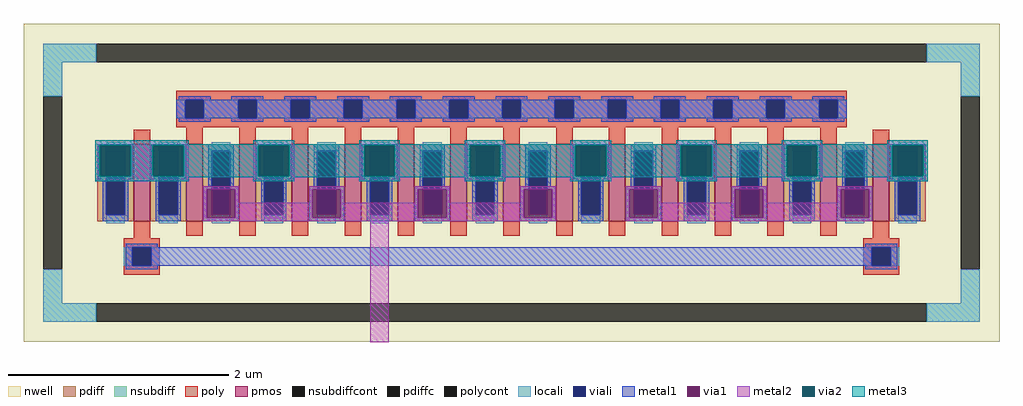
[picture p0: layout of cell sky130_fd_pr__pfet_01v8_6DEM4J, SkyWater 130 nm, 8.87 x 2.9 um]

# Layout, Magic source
magic
tech sky130A
magscale 1 2
<< nwell >>
rect -887 -289 887 289
<< pmos >>
rect -687 -70 -657 70
rect -591 -70 -561 70
rect -495 -70 -465 70
rect -399 -70 -369 70
rect -303 -70 -273 70
rect -207 -70 -177 70
rect -111 -70 -81 70
rect -15 -70 15 70
rect 81 -70 111 70
rect 177 -70 207 70
rect 273 -70 303 70
rect 369 -70 399 70
rect 465 -70 495 70
rect 561 -70 591 70
rect 657 -70 687 70
<< pdiff >>
rect -753 58 -687 70
rect -753 -58 -737 58
rect -703 -58 -687 58
rect -753 -70 -687 -58
rect -657 58 -591 70
rect -657 -58 -641 58
rect -607 -58 -591 58
rect -657 -70 -591 -58
rect -561 58 -495 70
rect -561 -58 -545 58
rect -511 -58 -495 58
rect -561 -70 -495 -58
rect -465 58 -399 70
rect -465 -58 -449 58
rect -415 -58 -399 58
rect -465 -70 -399 -58
rect -369 58 -303 70
rect -369 -58 -353 58
rect -319 -58 -303 58
rect -369 -70 -303 -58
rect -273 58 -207 70
rect -273 -58 -257 58
rect -223 -58 -207 58
rect -273 -70 -207 -58
rect -177 58 -111 70
rect -177 -58 -161 58
rect -127 -58 -111 58
rect -177 -70 -111 -58
rect -81 58 -15 70
rect -81 -58 -65 58
rect -31 -58 -15 58
rect -81 -70 -15 -58
rect 15 58 81 70
rect 15 -58 31 58
rect 65 -58 81 58
rect 15 -70 81 -58
rect 111 58 177 70
rect 111 -58 127 58
rect 161 -58 177 58
rect 111 -70 177 -58
rect 207 58 273 70
rect 207 -58 223 58
rect 257 -58 273 58
rect 207 -70 273 -58
rect 303 58 369 70
rect 303 -58 319 58
rect 353 -58 369 58
rect 303 -70 369 -58
rect 399 58 465 70
rect 399 -58 415 58
rect 449 -58 465 58
rect 399 -70 465 -58
rect 495 58 561 70
rect 495 -58 511 58
rect 545 -58 561 58
rect 495 -70 561 -58
rect 591 58 657 70
rect 591 -58 607 58
rect 641 -58 657 58
rect 591 -70 657 -58
rect 687 58 753 70
rect 687 -58 703 58
rect 737 -58 753 58
rect 687 -70 753 -58
<< pdiffc >>
rect -737 -58 -703 58
rect -641 -58 -607 58
rect -545 -58 -511 58
rect -449 -58 -415 58
rect -353 -58 -319 58
rect -257 -58 -223 58
rect -161 -58 -127 58
rect -65 -58 -31 58
rect 31 -58 65 58
rect 127 -58 161 58
rect 223 -58 257 58
rect 319 -58 353 58
rect 415 -58 449 58
rect 511 -58 545 58
rect 607 -58 641 58
rect 703 -58 737 58
<< nsubdiff >>
rect -851 219 -755 253
rect 755 219 851 253
rect -851 157 -817 219
rect 817 157 851 219
rect -851 -219 -817 -157
rect 817 -219 851 -157
rect -851 -253 -755 -219
rect 755 -253 851 -219
<< nsubdiffcont >>
rect -755 219 755 253
rect -851 -157 -817 157
rect 817 -157 851 157
rect -755 -253 755 -219
<< poly >>
rect -609 151 609 167
rect -609 117 -593 151
rect -559 117 -497 151
rect -463 117 -401 151
rect -367 117 -305 151
rect -271 117 -209 151
rect -175 117 -113 151
rect -79 117 -17 151
rect 17 117 79 151
rect 113 117 175 151
rect 209 117 271 151
rect 305 117 367 151
rect 401 117 463 151
rect 497 117 559 151
rect 593 117 609 151
rect -609 101 609 117
rect -687 70 -657 96
rect -591 70 -561 101
rect -495 70 -465 101
rect -399 70 -369 101
rect -303 70 -273 101
rect -207 70 -177 101
rect -111 70 -81 101
rect -15 70 15 101
rect 81 70 111 101
rect 177 70 207 101
rect 273 70 303 101
rect 369 70 399 101
rect 465 70 495 101
rect 561 70 591 101
rect 657 70 687 96
rect -687 -101 -657 -70
rect -591 -96 -561 -70
rect -495 -96 -465 -70
rect -399 -96 -369 -70
rect -303 -96 -273 -70
rect -207 -96 -177 -70
rect -111 -96 -81 -70
rect -15 -96 15 -70
rect 81 -96 111 -70
rect 177 -96 207 -70
rect 273 -96 303 -70
rect 369 -96 399 -70
rect 465 -96 495 -70
rect 561 -96 591 -70
rect 657 -101 687 -70
rect -705 -117 -639 -101
rect -705 -151 -689 -117
rect -655 -151 -639 -117
rect -705 -167 -639 -151
rect 639 -117 705 -101
rect 639 -151 655 -117
rect 689 -151 705 -117
rect 639 -167 705 -151
<< polycont >>
rect -593 117 -559 151
rect -497 117 -463 151
rect -401 117 -367 151
rect -305 117 -271 151
rect -209 117 -175 151
rect -113 117 -79 151
rect -17 117 17 151
rect 79 117 113 151
rect 175 117 209 151
rect 271 117 305 151
rect 367 117 401 151
rect 463 117 497 151
rect 559 117 593 151
rect -689 -151 -655 -117
rect 655 -151 689 -117
<< locali >>
rect -851 219 -755 253
rect 755 219 851 253
rect -851 157 -817 219
rect 817 157 851 219
rect -609 117 -593 151
rect -559 117 -497 151
rect -463 117 -401 151
rect -367 117 -305 151
rect -271 117 -209 151
rect -175 117 -113 151
rect -79 117 -17 151
rect 17 117 79 151
rect 113 117 175 151
rect 209 117 271 151
rect 305 117 367 151
rect 401 117 463 151
rect 497 117 559 151
rect 593 117 609 151
rect -737 58 -703 74
rect -737 -74 -703 -58
rect -641 58 -607 74
rect -641 -74 -607 -58
rect -545 58 -511 74
rect -545 -74 -511 -58
rect -449 58 -415 74
rect -449 -74 -415 -58
rect -353 58 -319 74
rect -353 -74 -319 -58
rect -257 58 -223 74
rect -257 -74 -223 -58
rect -161 58 -127 74
rect -161 -74 -127 -58
rect -65 58 -31 74
rect -65 -74 -31 -58
rect 31 58 65 74
rect 31 -74 65 -58
rect 127 58 161 74
rect 127 -74 161 -58
rect 223 58 257 74
rect 223 -74 257 -58
rect 319 58 353 74
rect 319 -74 353 -58
rect 415 58 449 74
rect 415 -74 449 -58
rect 511 58 545 74
rect 511 -74 545 -58
rect 607 58 641 74
rect 607 -74 641 -58
rect 703 58 737 74
rect 703 -74 737 -58
rect -705 -151 -689 -117
rect -655 -151 -639 -117
rect 639 -151 655 -117
rect 689 -151 705 -117
rect -851 -219 -817 -157
rect 817 -219 851 -157
rect -851 -253 -755 -219
rect 755 -253 851 -219
<< viali >>
rect -593 117 -559 151
rect -497 117 -463 151
rect -401 117 -367 151
rect -305 117 -271 151
rect -209 117 -175 151
rect -113 117 -79 151
rect -17 117 17 151
rect 79 117 113 151
rect 175 117 209 151
rect 271 117 305 151
rect 367 117 401 151
rect 463 117 497 151
rect 559 117 593 151
rect -737 -58 -703 58
rect -641 -58 -607 58
rect -545 -58 -511 58
rect -449 -58 -415 58
rect -353 -58 -319 58
rect -257 -58 -223 58
rect -161 -58 -127 58
rect -65 -58 -31 58
rect 31 -58 65 58
rect 127 -58 161 58
rect 223 -58 257 58
rect 319 -58 353 58
rect 415 -58 449 58
rect 511 -58 545 58
rect 607 -58 641 58
rect 703 -58 737 58
rect -689 -151 -655 -117
rect 655 -151 689 -117
<< metal1 >>
rect -605 151 -547 157
rect -509 151 -451 157
rect -413 151 -355 157
rect -317 151 -259 157
rect -221 151 -163 157
rect -125 151 -67 157
rect -29 151 29 157
rect 67 151 125 157
rect 163 151 221 157
rect 259 151 317 157
rect 355 151 413 157
rect 451 151 509 157
rect 547 151 605 157
rect -609 117 -593 151
rect -559 117 -497 151
rect -463 117 -401 151
rect -367 117 -305 151
rect -271 117 -209 151
rect -175 117 -113 151
rect -79 117 -17 151
rect 17 117 79 151
rect 113 117 175 151
rect 209 117 271 151
rect 305 117 367 151
rect 401 117 463 151
rect 497 117 559 151
rect 593 117 609 151
rect -605 111 -547 117
rect -509 111 -451 117
rect -413 111 -355 117
rect -317 111 -259 117
rect -221 111 -163 117
rect -125 111 -67 117
rect -29 111 29 117
rect 67 111 125 117
rect 163 111 221 117
rect 259 111 317 117
rect 355 111 413 117
rect 451 111 509 117
rect 547 111 605 117
rect -752 66 -688 70
rect -752 14 -746 66
rect -694 14 -688 66
rect -752 6 -737 14
rect -743 -58 -737 6
rect -703 6 -688 14
rect -656 66 -592 70
rect -656 14 -650 66
rect -598 14 -592 66
rect -656 6 -641 14
rect -703 -58 -697 6
rect -743 -70 -697 -58
rect -647 -58 -641 6
rect -607 6 -592 14
rect -551 58 -505 70
rect -607 -58 -601 6
rect -551 -6 -545 58
rect -647 -70 -601 -58
rect -560 -12 -545 -6
rect -511 -6 -505 58
rect -464 66 -400 70
rect -464 14 -458 66
rect -406 14 -400 66
rect -464 6 -449 14
rect -511 -12 -496 -6
rect -560 -64 -554 -12
rect -502 -64 -496 -12
rect -560 -70 -496 -64
rect -455 -58 -449 6
rect -415 6 -400 14
rect -359 58 -313 70
rect -415 -58 -409 6
rect -359 -6 -353 58
rect -455 -70 -409 -58
rect -368 -12 -353 -6
rect -319 -6 -313 58
rect -272 66 -208 70
rect -272 14 -266 66
rect -214 14 -208 66
rect -272 6 -257 14
rect -319 -12 -304 -6
rect -368 -64 -362 -12
rect -310 -64 -304 -12
rect -368 -70 -304 -64
rect -263 -58 -257 6
rect -223 6 -208 14
rect -167 58 -121 70
rect -223 -58 -217 6
rect -167 -6 -161 58
rect -263 -70 -217 -58
rect -176 -12 -161 -6
rect -127 -6 -121 58
rect -80 66 -16 70
rect -80 14 -74 66
rect -22 14 -16 66
rect -80 6 -65 14
rect -127 -12 -112 -6
rect -176 -64 -170 -12
rect -118 -64 -112 -12
rect -176 -70 -112 -64
rect -71 -58 -65 6
rect -31 6 -16 14
rect 25 58 71 70
rect -31 -58 -25 6
rect 25 -6 31 58
rect -71 -70 -25 -58
rect 16 -12 31 -6
rect 65 -6 71 58
rect 112 66 176 70
rect 112 14 118 66
rect 170 14 176 66
rect 112 6 127 14
rect 65 -12 80 -6
rect 16 -64 22 -12
rect 74 -64 80 -12
rect 16 -70 80 -64
rect 121 -58 127 6
rect 161 6 176 14
rect 217 58 263 70
rect 161 -58 167 6
rect 217 -6 223 58
rect 121 -70 167 -58
rect 208 -12 223 -6
rect 257 -6 263 58
rect 304 66 368 70
rect 304 14 310 66
rect 362 14 368 66
rect 304 6 319 14
rect 257 -12 272 -6
rect 208 -64 214 -12
rect 266 -64 272 -12
rect 208 -70 272 -64
rect 313 -58 319 6
rect 353 6 368 14
rect 409 58 455 70
rect 353 -58 359 6
rect 409 -6 415 58
rect 313 -70 359 -58
rect 400 -12 415 -6
rect 449 -6 455 58
rect 496 66 560 70
rect 496 14 502 66
rect 554 14 560 66
rect 496 6 511 14
rect 449 -12 464 -6
rect 400 -64 406 -12
rect 458 -64 464 -12
rect 400 -70 464 -64
rect 505 -58 511 6
rect 545 6 560 14
rect 601 58 647 70
rect 545 -58 551 6
rect 601 -6 607 58
rect 505 -70 551 -58
rect 592 -12 607 -6
rect 641 -6 647 58
rect 688 66 752 70
rect 688 14 694 66
rect 746 14 752 66
rect 688 6 703 14
rect 641 -12 656 -6
rect 592 -64 598 -12
rect 650 -64 656 -12
rect 592 -70 656 -64
rect 697 -58 703 6
rect 737 6 752 14
rect 737 -58 743 6
rect 697 -70 743 -58
rect -701 -117 -643 -111
rect 643 -117 701 -111
rect -701 -151 -689 -117
rect -655 -151 655 -117
rect 689 -151 701 -117
rect -701 -157 -643 -151
rect 643 -157 701 -151
<< via1 >>
rect -746 58 -694 66
rect -746 14 -737 58
rect -737 14 -703 58
rect -703 14 -694 58
rect -650 58 -598 66
rect -650 14 -641 58
rect -641 14 -607 58
rect -607 14 -598 58
rect -458 58 -406 66
rect -458 14 -449 58
rect -449 14 -415 58
rect -415 14 -406 58
rect -554 -58 -545 -12
rect -545 -58 -511 -12
rect -511 -58 -502 -12
rect -554 -64 -502 -58
rect -266 58 -214 66
rect -266 14 -257 58
rect -257 14 -223 58
rect -223 14 -214 58
rect -362 -58 -353 -12
rect -353 -58 -319 -12
rect -319 -58 -310 -12
rect -362 -64 -310 -58
rect -74 58 -22 66
rect -74 14 -65 58
rect -65 14 -31 58
rect -31 14 -22 58
rect -170 -58 -161 -12
rect -161 -58 -127 -12
rect -127 -58 -118 -12
rect -170 -64 -118 -58
rect 118 58 170 66
rect 118 14 127 58
rect 127 14 161 58
rect 161 14 170 58
rect 22 -58 31 -12
rect 31 -58 65 -12
rect 65 -58 74 -12
rect 22 -64 74 -58
rect 310 58 362 66
rect 310 14 319 58
rect 319 14 353 58
rect 353 14 362 58
rect 214 -58 223 -12
rect 223 -58 257 -12
rect 257 -58 266 -12
rect 214 -64 266 -58
rect 502 58 554 66
rect 502 14 511 58
rect 511 14 545 58
rect 545 14 554 58
rect 406 -58 415 -12
rect 415 -58 449 -12
rect 449 -58 458 -12
rect 406 -64 458 -58
rect 694 58 746 66
rect 694 14 703 58
rect 703 14 737 58
rect 737 14 746 58
rect 598 -58 607 -12
rect 607 -58 641 -12
rect 641 -58 650 -12
rect 598 -64 650 -58
<< metal2 >>
rect -757 68 -587 77
rect -757 12 -748 68
rect -692 12 -652 68
rect -596 12 -587 68
rect -757 3 -587 12
rect -469 68 -395 77
rect -469 12 -460 68
rect -404 12 -395 68
rect -469 3 -395 12
rect -277 68 -203 77
rect -277 12 -268 68
rect -212 12 -203 68
rect -277 3 -203 12
rect -85 68 -11 77
rect -85 12 -76 68
rect -20 12 -11 68
rect -85 3 -11 12
rect 107 68 181 77
rect 107 12 116 68
rect 172 12 181 68
rect 107 3 181 12
rect 299 68 373 77
rect 299 12 308 68
rect 364 12 373 68
rect 299 3 373 12
rect 491 68 565 77
rect 491 12 500 68
rect 556 12 565 68
rect 491 3 565 12
rect 683 68 757 77
rect 683 12 692 68
rect 748 12 757 68
rect 683 3 757 12
rect -560 -12 -496 -6
rect -560 -64 -554 -12
rect -502 -36 -496 -12
rect -368 -12 -304 -6
rect -368 -36 -362 -12
rect -502 -64 -362 -36
rect -310 -36 -304 -12
rect -176 -12 -112 -6
rect -176 -36 -170 -12
rect -310 -64 -170 -36
rect -118 -36 -112 -12
rect 16 -12 80 -6
rect 16 -36 22 -12
rect -118 -64 22 -36
rect 74 -64 80 -12
rect -560 -70 80 -64
rect 208 -12 272 -6
rect 208 -64 214 -12
rect 266 -36 272 -12
rect 400 -12 464 -6
rect 400 -36 406 -12
rect 266 -64 406 -36
rect 458 -36 464 -12
rect 592 -12 656 -6
rect 592 -36 598 -12
rect 458 -64 598 -36
rect 650 -64 656 -12
rect 208 -70 656 -64
rect -257 -290 -223 -70
<< via2 >>
rect -748 66 -692 68
rect -748 14 -746 66
rect -746 14 -694 66
rect -694 14 -692 66
rect -748 12 -692 14
rect -652 66 -596 68
rect -652 14 -650 66
rect -650 14 -598 66
rect -598 14 -596 66
rect -652 12 -596 14
rect -460 66 -404 68
rect -460 14 -458 66
rect -458 14 -406 66
rect -406 14 -404 66
rect -460 12 -404 14
rect -268 66 -212 68
rect -268 14 -266 66
rect -266 14 -214 66
rect -214 14 -212 66
rect -268 12 -212 14
rect -76 66 -20 68
rect -76 14 -74 66
rect -74 14 -22 66
rect -22 14 -20 66
rect -76 12 -20 14
rect 116 66 172 68
rect 116 14 118 66
rect 118 14 170 66
rect 170 14 172 66
rect 116 12 172 14
rect 308 66 364 68
rect 308 14 310 66
rect 310 14 362 66
rect 362 14 364 66
rect 308 12 364 14
rect 500 66 556 68
rect 500 14 502 66
rect 502 14 554 66
rect 554 14 556 66
rect 500 12 556 14
rect 692 66 748 68
rect 692 14 694 66
rect 694 14 746 66
rect 746 14 748 66
rect 692 12 748 14
<< metal3 >>
rect -757 70 -587 77
rect -469 70 -395 77
rect -277 70 -203 77
rect -85 70 -11 77
rect 107 70 181 77
rect 299 70 373 77
rect 491 70 565 77
rect 683 70 757 77
rect -757 68 757 70
rect -757 12 -748 68
rect -692 12 -652 68
rect -596 12 -460 68
rect -404 12 -268 68
rect -212 12 -76 68
rect -20 12 116 68
rect 172 12 308 68
rect 364 12 500 68
rect 556 12 692 68
rect 748 12 757 68
rect -757 10 757 12
rect -757 3 -587 10
rect -469 3 -395 10
rect -277 3 -203 10
rect -85 3 -11 10
rect 107 3 181 10
rect 299 3 373 10
rect 491 3 565 10
rect 683 3 757 10
<< properties >>
string FIXED_BBOX -834 -236 834 236
string gencell sky130_fd_pr__pfet_01v8
string library sky130
string parameters w 0.7 l 0.15 m 1 nf 15 diffcov 100 polycov 100 guard 1 glc 1 grc 1 gtc 1 gbc 1 tbcov 100 rlcov 100 topc 1 botc 1 poverlap 0 doverlap 1 lmin 0.15 wmin 0.42 compatible {sky130_fd_pr__pfet_01v8  sky130_fd_pr__pfet_01v8_lvt sky130_fd_pr__pfet_01v8_hvt  sky130_fd_pr__pfet_g5v0d10v5} full_metal 1 viasrc 100 viadrn 100 viagate 100 viagb 0 viagr 0 viagl 0 viagt 0
<< end >>
